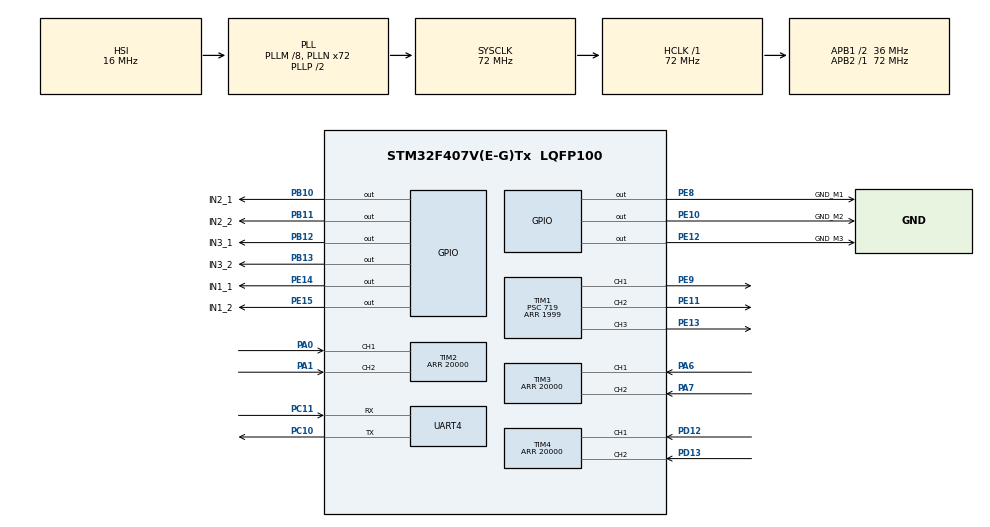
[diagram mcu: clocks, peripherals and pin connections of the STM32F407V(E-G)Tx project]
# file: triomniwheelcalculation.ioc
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Mcu.Family=STM32F4
Mcu.Name=STM32F407V(E-G)Tx
Mcu.Package=LQFP100
NVIC.PriorityGroup=NVIC_PRIORITYGROUP_4
NVIC.TIM5_IRQn=true\:0\:0\:false\:false\:true\:true\:true\:true
PA0-WKUP.Signal=S_TIM2_CH1_ETR
PA1.Signal=S_TIM2_CH2
PA13.Mode=Serial_Wire
PA13.Signal=SYS_JTMS-SWDIO
PA14.Mode=Serial_Wire
PA14.Signal=SYS_JTCK-SWCLK
PA6.Signal=S_TIM3_CH1
PA7.Signal=S_TIM3_CH2
PB10.GPIO_Label=IN2_1
PB10.GPIO_PuPd=GPIO_PULLDOWN
PB10.Signal=GPIO_Output
PB11.GPIO_Label=IN2_2
PB11.GPIO_PuPd=GPIO_PULLDOWN
PB11.Signal=GPIO_Output
PB12.GPIO_Label=IN3_1
PB12.GPIO_PuPd=GPIO_PULLDOWN
PB12.Signal=GPIO_Output
PB13.GPIO_Label=IN3_2
PB13.GPIO_PuPd=GPIO_PULLDOWN
PB13.Signal=GPIO_Output
PC10.Mode=Asynchronous
PC10.Signal=UART4_TX
PC11.Mode=Asynchronous
PC11.Signal=UART4_RX
PD12.Signal=S_TIM4_CH1
PD13.Signal=S_TIM4_CH2
PE10.GPIO_Label=GND_M2
PE10.GPIO_PuPd=GPIO_PULLDOWN
PE10.Signal=GPIO_Output
PE11.Signal=S_TIM1_CH2
PE12.GPIO_Label=GND_M3
PE12.GPIO_PuPd=GPIO_PULLDOWN
PE12.Signal=GPIO_Output
PE13.Signal=S_TIM1_CH3
PE14.GPIO_Label=IN1_1
PE14.GPIO_PuPd=GPIO_PULLDOWN
PE14.Signal=GPIO_Output
PE15.GPIO_Label=IN1_2
PE15.GPIO_PuPd=GPIO_PULLDOWN
PE15.Signal=GPIO_Output
PE8.GPIO_Label=GND_M1
PE8.GPIO_PuPd=GPIO_PULLDOWN
PE8.Signal=GPIO_Output
PE9.Signal=S_TIM1_CH1
ProjectManager.HeapSize=0x200
ProjectManager.StackSize=0x400
ProjectManager.TargetToolchain=STM32CubeIDE
RCC.48MHZClocksFreq_Value=36000000
RCC.AHBFreq_Value=72000000
RCC.APB1CLKDivider=RCC_HCLK_DIV2
RCC.APB1Freq_Value=36000000
RCC.APB1TimFreq_Value=72000000
RCC.APB2Freq_Value=72000000
RCC.APB2TimFreq_Value=72000000
RCC.CortexFreq_Value=72000000
RCC.HCLKFreq_Value=72000000
RCC.HSE_VALUE=25000000
RCC.HSI_VALUE=16000000
RCC.LSE_VALUE=32768
RCC.PLLM=8
RCC.PLLN=72
RCC.SYSCLKFreq_VALUE=72000000
RCC.SYSCLKSource=RCC_SYSCLKSOURCE_PLLCLK
RCC.VCOOutputFreq_Value=144000000
SH.S_TIM1_CH1.0=TIM1_CH1,PWM Generation1 CH1
SH.S_TIM1_CH2.0=TIM1_CH2,PWM Generation2 CH2
SH.S_TIM1_CH3.0=TIM1_CH3,PWM Generation3 CH3
SH.S_TIM2_CH1_ETR.0=TIM2_CH1,Encoder_Interface
SH.S_TIM2_CH2.0=TIM2_CH2,Encoder_Interface
SH.S_TIM3_CH1.0=TIM3_CH1,Encoder_Interface
SH.S_TIM3_CH2.0=TIM3_CH2,Encoder_Interface
SH.S_TIM4_CH1.0=TIM4_CH1,Encoder_Interface
SH.S_TIM4_CH2.0=TIM4_CH2,Encoder_Interface
TIM1.Channel-PWM\ Generation1\ CH1=TIM_CHANNEL_1
TIM1.Channel-PWM\ Generation2\ CH2=TIM_CHANNEL_2
TIM1.Channel-PWM\ Generation3\ CH3=TIM_CHANNEL_3
TIM1.Period=1999
TIM1.Prescaler=719
TIM2.Period=20000
TIM3.Period=20000
TIM4.Period=20000
TIM5.Period=9999
TIM5.Prescaler=71
UART4.VirtualMode=Asynchronous
VP_TIM1_VS_ClockSourceINT.Mode=Internal
VP_TIM5_VS_ClockSourceINT.Mode=Internal
board=custom

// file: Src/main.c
/* USER CODE BEGIN Header */
/**
  ******************************************************************************
  * @file           : main.c
  * @brief          : Main program body
  ******************************************************************************
  * @attention
  *
  * Copyright (c) 2024 STMicroelectronics.
  * All rights reserved.
  *
  * This software is licensed under terms that can be found in the LICENSE file
  * in the root directory of this software component.
  * If no LICENSE file comes with this software, it is provided AS-IS.
  *
  ******************************************************************************
  */
/* USER CODE END Header */
#include "main.h"
#include "tim.h"
#include "usart.h"
#include "gpio.h"

/* USER CODE BEGIN Includes */
#include "motorsetpwm.h"
#include "pid.h"
#include "encoder.h"
#include "forward.h"
/* USER CODE END Includes */

/* USER CODE BEGIN PTD */
CAR car_now,car_target;
RECEIVE receive;
//PID pid_speed,pid_position,pid_angel;
RECEIVE receive;
/* USER CODE END PTD */

void SystemClock_Config(void);

int main(void)
{

  /* MCU Configuration--------------------------------------------------------*/

  /* Reset of all peripherals, Initializes the Flash interface and the Systick. */
  HAL_Init();

  /* USER CODE BEGIN Init */
  Motor_Init();
  PID_Init();
  /* USER CODE END Init */

  /* Configure the system clock */
  SystemClock_Config();

  /* Initialize all configured peripherals */
  MX_GPIO_Init();
  MX_TIM1_Init();
  MX_TIM2_Init();
  MX_TIM3_Init();
  MX_TIM4_Init();
  MX_TIM5_Init();
  MX_UART4_Init();
  /* USER CODE BEGIN 2 */
  Motor_Init();
  PID_Init();
  Encoder_Init(&motor[0],&htim2);
  Encoder_Init(&motor[1],&htim3);
  Encoder_Init(&motor[2],&htim4);
  /* USER CODE END 2 */

  /* Infinite loop */
  while (1)
  {

  }
}

void SystemClock_Config(void)
{
  RCC_OscInitTypeDef RCC_OscInitStruct = {0};
  RCC_ClkInitTypeDef RCC_ClkInitStruct = {0};

  /** Configure the main internal regulator output voltage
  */
  __HAL_RCC_PWR_CLK_ENABLE();
  __HAL_PWR_VOLTAGESCALING_CONFIG(PWR_REGULATOR_VOLTAGE_SCALE1);

  /** Initializes the RCC Oscillators according to the specified parameters
  * in the RCC_OscInitTypeDef structure.
  */
  RCC_OscInitStruct.OscillatorType = RCC_OSCILLATORTYPE_HSI;
  RCC_OscInitStruct.HSIState = RCC_HSI_ON;
  RCC_OscInitStruct.HSICalibrationValue = RCC_HSICALIBRATION_DEFAULT;
  RCC_OscInitStruct.PLL.PLLState = RCC_PLL_ON;
  RCC_OscInitStruct.PLL.PLLSource = RCC_PLLSOURCE_HSI;
  RCC_OscInitStruct.PLL.PLLM = 8;
  RCC_OscInitStruct.PLL.PLLN = 72;
  RCC_OscInitStruct.PLL.PLLP = RCC_PLLP_DIV2;
  RCC_OscInitStruct.PLL.PLLQ = 4;
  if (HAL_RCC_OscConfig(&RCC_OscInitStruct) != HAL_OK)
  {
    Error_Handler();
  }

  /** Initializes the CPU, AHB and APB buses clocks
  */
  RCC_ClkInitStruct.ClockType = RCC_CLOCKTYPE_HCLK|RCC_CLOCKTYPE_SYSCLK
                              |RCC_CLOCKTYPE_PCLK1|RCC_CLOCKTYPE_PCLK2;
  RCC_ClkInitStruct.SYSCLKSource = RCC_SYSCLKSOURCE_PLLCLK;
  RCC_ClkInitStruct.AHBCLKDivider = RCC_SYSCLK_DIV1;
  RCC_ClkInitStruct.APB1CLKDivider = RCC_HCLK_DIV2;
  RCC_ClkInitStruct.APB2CLKDivider = RCC_HCLK_DIV1;

  if (HAL_RCC_ClockConfig(&RCC_ClkInitStruct, FLASH_LATENCY_2) != HAL_OK)
  {
    Error_Handler();
  }
}

/* USER CODE BEGIN 4 */

void HAL_TIM_PeriodElapsedCallback(TIM_HandleTypeDef *htim)//定时器回调函数，用于计算速度和PID计算
{
    if(htim->Instance==GAP_TIM.Instance)//间隔定时器中断，是时候计算�?�度�?
    {
        // Forward(Motor_getspeed(&motor[0]),Motor_getspeed(&motor[1]),Motor_getspeed(&motor[2]),&forward);
        // Speed2Pos(&forward,&pos);

        Turn(Location_PID_Realize(&pid_position,0),Location_PID_Realize(&pid_position,500),Angel_PID_Realize(&pid_angel,0));
      //M1_SetPWM(Speed_PID_Realize(&pid_speed,2000,Motor_getspeed(&motor[0],&htim2)));

        // Motor_Control();
    }
}

/* USER CODE END 4 */

void Error_Handler(void)
{
  __disable_irq();
  while (1)
  {
  }
}
